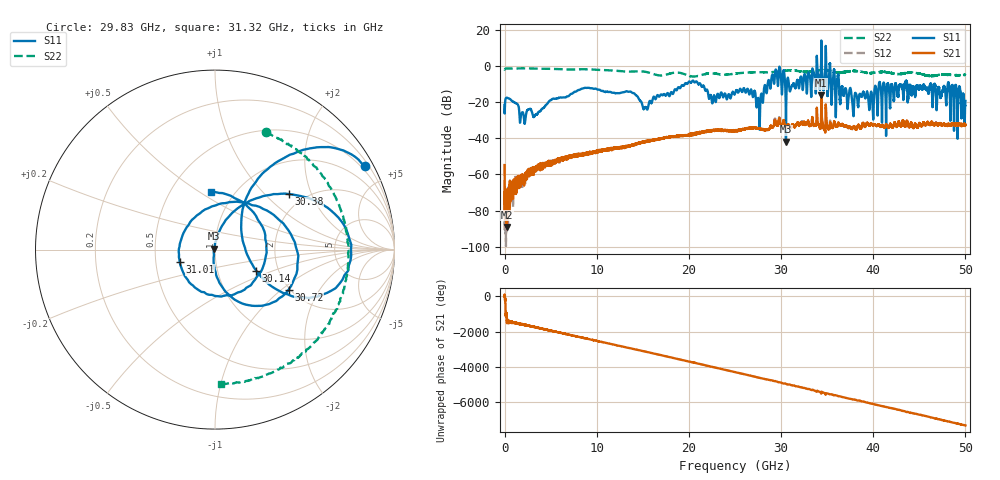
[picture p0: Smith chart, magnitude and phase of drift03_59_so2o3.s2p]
!Created with skrf (http://scikit-rf.org).
# Hz S RI R 50.0
!freq ReS11 ImS11 ReS21 ImS21 ReS12 ImS12 ReS22 ImS22
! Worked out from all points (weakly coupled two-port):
!   10001 points, 300 kHz to 50 GHz, reference 50 ohm
!   highest |S21| = -16.23 dB at 34.37 GHz (marker M1); lowest = -89.1 dB at 245.3 MHz (marker M2)
!   lowest |S11| = -41.9 dB at 30.53 GHz (marker M3), VSWR 1.02, Z = 49.3 + j0.45 ohm
!   |S11| at or under -10 dB: start of sweep to 19.56 GHz; 21.25 GHz to 28.55 GHz (7.297 GHz wide, 29.3 % of centre); 36.28 GHz to 40.62 GHz (4.335 GHz wide, 11.3 % of centre) (the widest 3 of 37)
!   |S22| runs from -5.9 to -1.3 dB; largest |S21 - S12| = 0.025
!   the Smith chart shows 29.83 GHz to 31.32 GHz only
!   S11 on the Smith chart (normalised r, x): 29.83 GHz: 0.35, +3.84; 30.14 GHz: 1.54, -0.39; 30.38 GHz: 1.66, +1.40; 30.72 GHz: 1.97, -1.12; 31.01 GHz: 0.67, -0.10; 31.32 GHz: 0.78, +0.56
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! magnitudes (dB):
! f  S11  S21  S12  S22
! 300 kHz  -21.7  -54.8  -63.1  -2.0
! 245.3 MHz  -17.6  -89.1  -83.8  -1.4
! 3.3 GHz  -27.2  -57.5  -57.3  -1.5
! 8.335 GHz  -12.7  -48.9  -48.9  -1.9
! 15.28 GHz  -22.8  -41.9  -41.9  -3.3
! 16.67 GHz  -16.5  -40.4  -40.8  -5.2
! 20.27 GHz  -9.1  -38.2  -38.2  -5.8
! 22.71 GHz  -16.4  -35.6  -35.7  -4.2
! 25 GHz  -15.3  -36.0  -35.9  -4.3
! 27.53 GHz  -17.8  -34.5  -34.6  -3.5
! 29.83 GHz  -0.4  -29.4  -28.5  -2.9
! 30.14 GHz  -11.8  -33.1  -33.5  -2.8
! 30.38 GHz  -5.8  -32.3  -32.6  -2.6
! 30.53 GHz  -41.9  -34.1  -34.0  -2.5
! 30.72 GHz  -6.6  -32.9  -32.7  -2.5
! 31.01 GHz  -13.6  -34.3  -34.1  -2.4
! 31.32 GHz  -9.9  -32.3  -32.5  -2.5
! 33.34 GHz  -7.4  -31.1  -31.2  -2.9
! 34.37 GHz  14.1  -16.2  -17.4  -2.3
! 37.87 GHz  -27.6  -33.5  -34.1  -2.8
! 41.67 GHz  -11.4  -34.2  -34.0  -3.6
! 50 GHz  -19.3  -32.6  -33.1  -5.0
